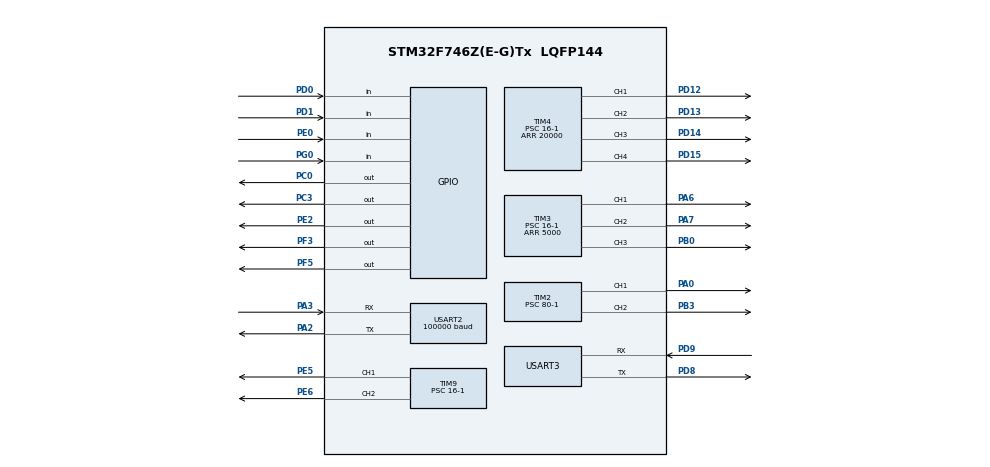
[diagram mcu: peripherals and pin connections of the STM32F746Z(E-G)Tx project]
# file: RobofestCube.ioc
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Mcu.Family=STM32F7
Mcu.Name=STM32F746Z(E-G)Tx
Mcu.Package=LQFP144
NVIC.PriorityGroup=NVIC_PRIORITYGROUP_4
NVIC.TIM6_DAC_IRQn=true\:1\:0\:true\:false\:true\:true
NVIC.USART2_IRQn=true\:2\:0\:true\:false\:true\:true
NVIC.USART3_IRQn=true\:4\:0\:true\:false\:true\:true
PA0/WKUP.Signal=S_TIM2_CH1_ETR
PA2.Mode=Asynchronous
PA2.Signal=USART2_TX
PA3.Mode=Asynchronous
PA3.Signal=USART2_RX
PA6.Signal=S_TIM3_CH1
PA7.Signal=S_TIM3_CH2
PB0.Signal=S_TIM3_CH3
PB3.Signal=S_TIM2_CH2
PC0.Signal=GPIO_Output
PC3.Signal=GPIO_Output
PD0.Signal=GPIO_Input
PD1.Signal=GPIO_Input
PD12.Signal=S_TIM4_CH1
PD13.Signal=S_TIM4_CH2
PD14.Signal=S_TIM4_CH3
PD15.Signal=S_TIM4_CH4
PD8.Mode=Asynchronous
PD8.Signal=USART3_TX
PD9.Mode=Asynchronous
PD9.Signal=USART3_RX
PE0.Signal=GPIO_Input
PE2.Signal=GPIO_Output
PE5.Signal=S_TIM9_CH1
PE6.Signal=S_TIM9_CH2
PF3.Signal=GPIO_Output
PF5.Signal=GPIO_Output
PG0.Signal=GPIO_Input
ProjectManager.HeapSize=0x200
ProjectManager.StackSize=0x400
ProjectManager.TargetToolchain=EWARM
RCC.HSE_VALUE=25000000
RCC.HSI_VALUE=16000000
RCC.LSE_VALUE=32768
RCC.USBFreq_Value=96000000
RCC.VCOOutputFreq_Value=192000000
SH.S_TIM2_CH1_ETR.0=TIM2_CH1,PWM Generation1 CH1
SH.S_TIM2_CH2.0=TIM2_CH2,PWM Generation2 CH2
SH.S_TIM3_CH1.0=TIM3_CH1,PWM Generation1 CH1
SH.S_TIM3_CH2.0=TIM3_CH2,PWM Generation2 CH2
SH.S_TIM3_CH3.0=TIM3_CH3,PWM Generation3 CH3
SH.S_TIM4_CH1.0=TIM4_CH1,PWM Generation1 CH1
SH.S_TIM4_CH2.0=TIM4_CH2,PWM Generation2 CH2
SH.S_TIM4_CH3.0=TIM4_CH3,PWM Generation3 CH3
SH.S_TIM4_CH4.0=TIM4_CH4,PWM Generation4 CH4
SH.S_TIM9_CH1.0=TIM9_CH1,PWM Generation1 CH1
SH.S_TIM9_CH2.0=TIM9_CH2,PWM Generation2 CH2
TIM2.Channel-PWM\ Generation1\ CH1=TIM_CHANNEL_1
TIM2.Channel-PWM\ Generation2\ CH2=TIM_CHANNEL_2
TIM2.Period=2048
TIM2.Prescaler=80-1
TIM3.Channel-PWM\ Generation1\ CH1=TIM_CHANNEL_1
TIM3.Channel-PWM\ Generation2\ CH2=TIM_CHANNEL_2
TIM3.Channel-PWM\ Generation3\ CH3=TIM_CHANNEL_3
TIM3.Period=5000
TIM3.Prescaler=16-1
TIM4.Channel-PWM\ Generation1\ CH1=TIM_CHANNEL_1
TIM4.Channel-PWM\ Generation2\ CH2=TIM_CHANNEL_2
TIM4.Channel-PWM\ Generation3\ CH3=TIM_CHANNEL_3
TIM4.Channel-PWM\ Generation4\ CH4=TIM_CHANNEL_4
TIM4.Period=20000
TIM4.Prescaler=16-1
TIM6.Period=12
TIM6.Prescaler=16000-1
TIM9.Channel-PWM\ Generation1\ CH1=TIM_CHANNEL_1
TIM9.Channel-PWM\ Generation2\ CH2=TIM_CHANNEL_2
TIM9.Period=20000
TIM9.Prescaler=16-1
USART2.BaudRate=100000
USART2.DataInvertParam=UART_ADVFEATURE_DATAINV_DISABLE
USART2.MSBFirstParam=UART_ADVFEATURE_MSBFIRST_DISABLE
USART2.Parity=PARITY_EVEN
USART2.RxPinLevelInvertParam=UART_ADVFEATURE_RXINV_ENABLE
USART2.StopBits=STOPBITS_2
USART2.VirtualMode-Asynchronous=VM_ASYNC
USART2.WordLength=WORDLENGTH_9B
USART3.VirtualMode-Asynchronous=VM_ASYNC
USART3.WordLength=WORDLENGTH_8B
VP_TIM2_VS_ClockSourceINT.Mode=Internal
VP_TIM6_VS_ClockSourceINT.Mode=Enable_Timer
board=RobofestCube

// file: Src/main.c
/**
  ******************************************************************************
  * File Name          : main.c
  * Description        : Main program body
  ******************************************************************************
  ** This notice applies to any and all portions of this file
  * that are not between comment pairs USER CODE BEGIN and
  * USER CODE END. Other portions of this file, whether
  * inserted by the user or by software development tools
  * are owned by their respective copyright owners.
  *
  * COPYRIGHT(c) 2018 STMicroelectronics
  *
  * Redistribution and use in source and binary forms, with or without modification,
  * are permitted provided that the following conditions are met:
  *   1. Redistributions of source code must retain the above copyright notice,
  *      this list of conditions and the following disclaimer.
  *   2. Redistributions in binary form must reproduce the above copyright notice,
  *      this list of conditions and the following disclaimer in the documentation
  *      and/or other materials provided with the distribution.
  *   3. Neither the name of STMicroelectronics nor the names of its contributors
  *      may be used to endorse or promote products derived from this software
  *      without specific prior written permission.
  *
  * THIS SOFTWARE IS PROVIDED BY THE COPYRIGHT HOLDERS AND CONTRIBUTORS "AS IS"
  * AND ANY EXPRESS OR IMPLIED WARRANTIES, INCLUDING, BUT NOT LIMITED TO, THE
  * IMPLIED WARRANTIES OF MERCHANTABILITY AND FITNESS FOR A PARTICULAR PURPOSE ARE
  * DISCLAIMED. IN NO EVENT SHALL THE COPYRIGHT HOLDER OR CONTRIBUTORS BE LIABLE
  * FOR ANY DIRECT, INDIRECT, INCIDENTAL, SPECIAL, EXEMPLARY, OR CONSEQUENTIAL
  * DAMAGES (INCLUDING, BUT NOT LIMITED TO, PROCUREMENT OF SUBSTITUTE GOODS OR
  * SERVICES; LOSS OF USE, DATA, OR PROFITS; OR BUSINESS INTERRUPTION) HOWEVER
  * CAUSED AND ON ANY THEORY OF LIABILITY, WHETHER IN CONTRACT, STRICT LIABILITY,
  * OR TORT (INCLUDING NEGLIGENCE OR OTHERWISE) ARISING IN ANY WAY OUT OF THE USE
  * OF THIS SOFTWARE, EVEN IF ADVISED OF THE POSSIBILITY OF SUCH DAMAGE.
  *
  ******************************************************************************
  */
#include "main.h"
#include "stm32f7xx_hal.h"

TIM_HandleTypeDef htim2;
TIM_HandleTypeDef htim3;
TIM_HandleTypeDef htim4;
TIM_HandleTypeDef htim6;
TIM_HandleTypeDef htim9;

UART_HandleTypeDef huart2;
UART_HandleTypeDef huart3;

/* USER CODE BEGIN PV */
/* Private variables ---------------------------------------------------------*/

/* USER CODE END PV */

void SystemClock_Config(void);
static void MX_GPIO_Init(void);
static void MX_USART2_UART_Init(void);
static void MX_USART3_UART_Init(void);
static void MX_TIM2_Init(void);
static void MX_TIM4_Init(void);
static void MX_TIM9_Init(void);
static void MX_TIM6_Init(void);
static void MX_TIM3_Init(void);

void HAL_TIM_MspPostInit(TIM_HandleTypeDef *htim);

/* USER CODE BEGIN PFP */
/* Private function prototypes -----------------------------------------------*/
static unsigned int Parser (unsigned char a, unsigned char mask, int shift); // It's function for a short record of complex shifts
static int16_t Min_Max(int16_t variable, int16_t min, int16_t max); // Break off the ends
static void Engine_PWM_Set (int16_t Left_Power, int16_t Right_Power); // Set PWM setting on engines
static void Calibration_Channels(uint16_t * CH, double min_val, double max_val); // Aligns the sights on channels
static int16_t Switch_Range (int16_t prev_min_val, int16_t prev_max_val, int16_t min_val, int16_t max_val, int16_t value);
/* USER CODE END PFP */

/* USER CODE BEGIN 0 */
unsigned int i; // Counter
int16_t iteration = 0; // Iterator for servo and camera capasity

// Data receive variables
unsigned char Radio_Data[250]; // Buffer for Radio module data
uint16_t CH[16]; // Processed channels
unsigned char Start_byte; // Byte only for start receiving
unsigned char Radio_flag = 0; // Access Radio flag
unsigned char DCH1; // DCH1 from sbus
unsigned char DCH2; // DCH2from sbus
unsigned char Frame_lost; // Frame lost from sbus
unsigned char failsafe; // failsafe from sbus

// Motion variables
int16_t Left_Power = 0;  // Power of the right side of the wheels
int16_t Right_Power = 0; // Power of the left side of the wheels
unsigned char tank_switch; // Flag set switching motion mod is ready

// Servo variables
int16_t PWM_slope = 544;
int16_t PWM_rotate = 544;
int16_t PWM_manipulator_rotate = 900;

// Camera variables
int16_t PWM_LeftRight = 544;
int16_t PWM_UpDown = 544;

// Button variables
uint16_t prev_ch10, prev_ch11;
/* USER CODE END 0 */

int main(void)
{

  /* MCU Configuration----------------------------------------------------------*/

  /* Reset of all peripherals, Initializes the Flash interface and the Systick. */
  HAL_Init();

  /* Configure the system clock */
  SystemClock_Config();

  /* Initialize all configured peripherals */
  MX_GPIO_Init();
  MX_USART2_UART_Init();
  MX_USART3_UART_Init();
  MX_TIM2_Init();
  MX_TIM4_Init();
  MX_TIM9_Init();
  MX_TIM6_Init();
  MX_TIM3_Init();

  /* USER CODE BEGIN 2 */
  HAL_TIM_Base_Start_IT(&htim2);
  __HAL_UART_ENABLE_IT(&huart2, UART_IT_RXNE);
  HAL_TIM_PWM_Start(&htim2, TIM_CHANNEL_1);
  HAL_TIM_PWM_Start(&htim2, TIM_CHANNEL_2);

  // PWM Activation
  HAL_TIM_Base_Start_IT(&htim3);
  HAL_TIM_PWM_Start(&htim3, TIM_CHANNEL_1);
  HAL_TIM_PWM_Start(&htim3, TIM_CHANNEL_2);
  HAL_TIM_PWM_Start(&htim3, TIM_CHANNEL_3);

  HAL_TIM_Base_Start_IT(&htim4);
  HAL_TIM_PWM_Start(&htim4, TIM_CHANNEL_1);
  HAL_TIM_PWM_Start(&htim4, TIM_CHANNEL_2);
  HAL_TIM_PWM_Start(&htim4, TIM_CHANNEL_3);

  HAL_TIM_Base_Start_IT(&htim9);
  HAL_TIM_PWM_Start(&htim9, TIM_CHANNEL_1);
  HAL_TIM_PWM_Start(&htim9, TIM_CHANNEL_2);
  /* USER CODE END 2 */

  /* Infinite loop */
  while (1)
  {

  /* USER CODE BEGIN 3 */
  	//HAL_UART_Transmit(&huart2, (unsigned char *) "After While\r", 12, 0xff);

//  	HAL_UART_Transmit(&huart3, (unsigned char *) "While\r", 6, 0xff);
    if (Radio_flag == 1)
    {

      CH[0] = Radio_Data[1] + Parser(Radio_Data[2], 0b00000111, 8); // Right Left-Right
      CH[1] = Parser(Radio_Data[2], 0b11111000, -3) + Parser(Radio_Data[3], 0b00111111, 5); // Right Up-Down
      CH[2] = Parser(Radio_Data[3], 0b11000000, -6) + Parser(Radio_Data[4], 0b11111111, 2) + Parser(Radio_Data[5], 0b00000001, 10); // Left Up-Down
      CH[3] = Parser(Radio_Data[5], 0b11111110, -1) + Parser(Radio_Data[6], 0b00001111, 7); // Left Left-Right
      CH[4] = Parser(Radio_Data[6], 0b11110000, -4) + Parser(Radio_Data[7], 0b01111111, 4); // Far Left Swith
      CH[5] = Parser(Radio_Data[7], 0b10000000, -7) + Parser(Radio_Data[8], 0b11111111, 1) + Parser(Radio_Data[9], 0b00000011, 9); // Close Left-Left switch
      CH[6] = Parser(Radio_Data[9], 0b11111100, -2) + Parser(Radio_Data[10], 0b00011111, 6); // Close Left-Right switch
      CH[7] = Parser(Radio_Data[10], 0b11100000, -5) + Parser(Radio_Data[11], 0b11111111, 3); // Close Right-Left switch
      CH[8] = Radio_Data[12] + Parser(Radio_Data[13], 0b00000111, 8); // Close Right-Right switch
      CH[9] = Parser(Radio_Data[13], 0b11111000, -3) + Parser(Radio_Data[14], 0b00111111, 5); // Far Right Swith
      CH[10] = Parser(Radio_Data[14], 0b11000000, -6) + Parser(Radio_Data[15], 0b11111111, 2) + Parser(Radio_Data[16], 0b00000001, 10); // Left wheel
      CH[11] = Parser(Radio_Data[16], 0b11111110, -1) + Parser(Radio_Data[17], 0b00001111, 7); // Right wheel
      CH[12] = Parser(Radio_Data[17], 0b11110000, -4) + Parser(Radio_Data[18], 0b01111111, 4);
      CH[13] = Parser(Radio_Data[18], 0b10000000, -7) + Parser(Radio_Data[19], 0b11111111, 1) + Parser(Radio_Data[20], 0b00000011, 9);
      CH[14] = Parser(Radio_Data[20], 0b11111100, -2) + Parser(Radio_Data[21], 0b00011111, 6);
      CH[15] = Parser(Radio_Data[21], 0b11100000, -5) + Parser(Radio_Data[22], 0b11111111, 3);
      // Channels accepted

      DCH1 = Parser(Radio_Data[23], 0b00000001, 0);
      DCH2 = Parser(Radio_Data[23], 0b00000010, -1);
      Frame_lost = Parser(Radio_Data[23], 0b00000100, -2);
      failsafe = Parser(Radio_Data[23], 0b00001000, -3);
      // Specail signals accepted

      // Calibration
      for (i = 0; i < 16; i++)
      	Calibration_Channels(&CH[i], 172, 1811);

      switch (CH[5])
      {
      	case 0: // Wheels mod
      	{
      		// Stop manipulator
      		__HAL_TIM_SET_COMPARE(&htim4, TIM_CHANNEL_1, 0);
      		__HAL_TIM_SET_COMPARE(&htim4, TIM_CHANNEL_2, 0);
      		__HAL_TIM_SET_COMPARE(&htim4, TIM_CHANNEL_3, 0);

      		// Stop Camera
      		__HAL_TIM_SET_COMPARE(&htim9, TIM_CHANNEL_1, 0);
      		__HAL_TIM_SET_COMPARE(&htim9, TIM_CHANNEL_2, 0);

      		// Set tank_switch
      		if (CH[2] == 1026)
      			tank_switch = 1;

      		// Here move settings
      		if ((CH[4] > 1024) && tank_switch)
      		{
      			Left_Power = (int16_t) ((CH[2] - 1024)*2);
      			Right_Power = (int16_t) ((CH[1] - 1024)*2);
      		}
      		else
      		{
      			tank_switch = 0;
      			Left_Power = (int16_t)((CH[1] + CH[0] - 2048)*(CH[2]/1024.0));
      			Right_Power = (int16_t)((CH[1] - CH[0])*(CH[2]/1024.0));
      		}

      		// Normalization
      		Left_Power = Min_Max(Left_Power, -2048, 2048);
      		Right_Power = Min_Max(Right_Power, -2048, 2048);

      		if (Frame_lost) // If the packege has been lost, we all turn off
      		{
      		  __HAL_TIM_SET_COMPARE(&htim2, TIM_CHANNEL_1, 0);
      		  __HAL_TIM_SET_COMPARE(&htim2, TIM_CHANNEL_2, 0);
      		}
      		else // Else set PWM setting on engines
      			Engine_PWM_Set(Left_Power, Right_Power);

      		break;
      	}

      	case 1024: // Camera mod
      	{
      		// Stop motion
      		__HAL_TIM_SET_COMPARE(&htim2, TIM_CHANNEL_1, 0);
      		__HAL_TIM_SET_COMPARE(&htim2, TIM_CHANNEL_2, 0);

      		// Stop manipulator
      		__HAL_TIM_SET_COMPARE(&htim4, TIM_CHANNEL_1, 0);
      		__HAL_TIM_SET_COMPARE(&htim4, TIM_CHANNEL_2, 0);
      		__HAL_TIM_SET_COMPARE(&htim4, TIM_CHANNEL_3, 0);

      		if (Frame_lost)
      		{
      			// Stop Camera
      			__HAL_TIM_SET_COMPARE(&htim9, TIM_CHANNEL_1, 0);
      			__HAL_TIM_SET_COMPARE(&htim9, TIM_CHANNEL_2, 0);
      		}
      		else
      		{
      			// Left-Right
      			iteration = Switch_Range(0, 2048, -180, 180, CH[0]);
      			PWM_LeftRight += iteration;
      			PWM_LeftRight = Min_Max(PWM_LeftRight, 600, 2300);  // PWM_slope = Min_Max(PWM_slope, 544, 2400);
				__HAL_TIM_SET_COMPARE(&htim9, TIM_CHANNEL_1, PWM_LeftRight);

				// Up-Down
				iteration = Switch_Range(0, 2048, -180, 180, CH[1]);
				PWM_UpDown += iteration;
				PWM_UpDown = Min_Max(PWM_UpDown, 600, 2300);
				__HAL_TIM_SET_COMPARE(&htim9, TIM_CHANNEL_2, PWM_UpDown);
      		}

			break;
      	}

      	case 2048: // Manipulator mod
      	{
      		// Stop motion
      		__HAL_TIM_SET_COMPARE(&htim2, TIM_CHANNEL_1, 0);
      		__HAL_TIM_SET_COMPARE(&htim2, TIM_CHANNEL_2, 0);

      		// Stop Camera
      		__HAL_TIM_SET_COMPARE(&htim9, TIM_CHANNEL_1, 0);
      		__HAL_TIM_SET_COMPARE(&htim9, TIM_CHANNEL_2, 0);

      		if (Frame_lost) // If the packege has been lost, we all turn off
      		{
      			__HAL_TIM_SET_COMPARE(&htim4, TIM_CHANNEL_1, 0);
      			__HAL_TIM_SET_COMPARE(&htim4, TIM_CHANNEL_2, 0);
      			__HAL_TIM_SET_COMPARE(&htim4, TIM_CHANNEL_3, 0);
      		}
      		else
      		{
      			// Capture the goal
      			__HAL_TIM_SET_COMPARE(&htim4, TIM_CHANNEL_1, Switch_Range(0, 2048, 600, 2300, CH[2]));

      			// Pitch
      			iteration = Switch_Range(0, 2048, -180, 180, CH[1]);
      			PWM_slope += iteration;
      			PWM_slope = Min_Max(PWM_slope, 600, 2300);  // PWM_slope = Min_Max(PWM_slope, 544, 2400);
				__HAL_TIM_SET_COMPARE(&htim4, TIM_CHANNEL_2, PWM_slope);

				// Rotate the claw
				iteration = Switch_Range(0, 2048, -180, 180, CH[3]);
				PWM_rotate += iteration;
				PWM_rotate = Min_Max(PWM_rotate, 600, 2300);
				__HAL_TIM_SET_COMPARE(&htim4, TIM_CHANNEL_3, PWM_rotate);

				// Direct_1
				__HAL_TIM_SET_COMPARE(&htim3, TIM_CHANNEL_1, Switch_Range(0, 2048, 900, 2100, CH[10]));

				// Direct_1
				__HAL_TIM_SET_COMPARE(&htim3, TIM_CHANNEL_2, Switch_Range(0, 2048, 900, 2100, CH[11]));

				// Rotate the manipulator
				iteration = Switch_Range(0, 2048, -180, 180, CH[0]);
      			PWM_manipulator_rotate += iteration;
      			PWM_manipulator_rotate = Min_Max(PWM_manipulator_rotate, 900, 2100);  // PWM_slope = Min_Max(PWM_slope, 544, 2400);
				__HAL_TIM_SET_COMPARE(&htim3, TIM_CHANNEL_3, PWM_manipulator_rotate);

				break;
      		}
      	}
      }

      if (CH[9] == 2048) // Automatical capture mode
      {

      	// Stop motion
      	__HAL_TIM_SET_COMPARE(&htim2, TIM_CHANNEL_1, 0);
      	__HAL_TIM_SET_COMPARE(&htim2, TIM_CHANNEL_2, 0);

      	// Stop Camera
      	__HAL_TIM_SET_COMPARE(&htim9, TIM_CHANNEL_1, 0);
      	__HAL_TIM_SET_COMPARE(&htim9, TIM_CHANNEL_2, 0);

      	// Remember previous value
      	prev_ch10 = CH[10];
      	prev_ch11 = CH[11];

      	// Capasity of rotation
      	iteration = 1;

      	while(HAL_GPIO_ReadPin(GPIOE, GPIO_PIN_0)) // While button is not pressed
      	{
      		// NON BLOCK!!!
      		Radio_flag = 0;

      		// Iteration degree
      		CH[10] += iteration;
      		CH[11] += iteration;

      		for (i = 0; i < 1000; i++);
 //     		HAL_Delay(1000);

      		// Checking the automatic mode
      		CH[8] = Radio_Data[12] + Parser(Radio_Data[13], 0b00000111, 8); // Close Right-Right switch
      		Calibration_Channels(&CH[8], 172, 1811);

      		if ((CH[10] > 2048) || (CH[11] > 2048) || (CH[8] != 1024)) // There was an overflow but the button was not pressed
      		{
      			// Return previous values
      			CH[10] = prev_ch10;
      			CH[11] = prev_ch11;

      			// Return manipulator in previous position
      			__HAL_TIM_SET_COMPARE(&htim3, TIM_CHANNEL_1, Switch_Range(0, 2048, 900, 2100, CH[10]));
      			__HAL_TIM_SET_COMPARE(&htim3, TIM_CHANNEL_2, Switch_Range(0, 2048, 900, 2100, CH[11]));
      			break;
      		}

      		// Set PWM settings
      		__HAL_TIM_SET_COMPARE(&htim3, TIM_CHANNEL_1, Switch_Range(0, 2048, 900, 2100, CH[10]));
      		__HAL_TIM_SET_COMPARE(&htim3, TIM_CHANNEL_2, Switch_Range(0, 2048, 900, 2100, CH[11]));
      	}
      	if ((CH[10] <= 2048) && (CH[11] <= 2048) && (CH[8] == 1024)) // There is no an overflow,
      	{
      		// capture the target
      		__HAL_TIM_SET_COMPARE(&htim4, TIM_CHANNEL_1, 2300);

      		// Wake up manipulator
      		__HAL_TIM_SET_COMPARE(&htim3, TIM_CHANNEL_1, 1300);
      	}
      }

      switch (CH[7]) // Switch camera mod
      {
      	case 0: // Cammon camera
      	{
      		HAL_GPIO_WritePin(GPIOE, GPIO_PIN_2, GPIO_PIN_RESET);
      		break;
      	}

      	case 2048: // Special camera
      	{
      		HAL_GPIO_WritePin(GPIOE, GPIO_PIN_2, GPIO_PIN_SET);
      		break;
      	}
      }

      switch(CH[6]) // Features
      {
      	case 1024: // Roll up the manipulator
      	{
      		__HAL_TIM_SET_COMPARE(&htim4, TIM_CHANNEL_1, 1500);
      		__HAL_TIM_SET_COMPARE(&htim4, TIM_CHANNEL_2, 1500);
      		__HAL_TIM_SET_COMPARE(&htim4, TIM_CHANNEL_3, 1500);
      		__HAL_TIM_SET_COMPARE(&htim3, TIM_CHANNEL_1, 1500);
      		__HAL_TIM_SET_COMPARE(&htim3, TIM_CHANNEL_2, 1500);
      		__HAL_TIM_SET_COMPARE(&htim3, TIM_CHANNEL_3, 1500);

      		break;
      	}

      	case 2048: // Automatic climbing!
      	{
      		// Full power!
      		Engine_PWM_Set(2048, 2048);

      		// While there is no inclination we go
      		while ((HAL_GPIO_ReadPin(GPIOG, GPIO_PIN_0 == 0)) && (HAL_GPIO_ReadPin(GPIOD, GPIO_PIN_0 == 0)) && (HAL_GPIO_ReadPin(GPIOD, GPIO_PIN_1 == 0)))
      		{
      			// NON BLOCK!!!
      			Radio_flag = 0;

      			// Checking the automatic mode
      			CH[8] = Radio_Data[12] + Parser(Radio_Data[13], 0b00000111, 8); // Close Right-Right switch
      			Calibration_Channels(&CH[8], 172, 1811);

      			if (CH[8] != 1024)
      				break;
      		}

      		// We continue to go until each one is equalized
      		while (HAL_GPIO_ReadPin(GPIOG, GPIO_PIN_0) || HAL_GPIO_ReadPin(GPIOD, GPIO_PIN_0) || HAL_GPIO_ReadPin(GPIOD, GPIO_PIN_1))
      		{
      			// NON BLOCK!!!
      			Radio_flag = 0;

      			// Checking the automatic mode
      			CH[8] = Radio_Data[12] + Parser(Radio_Data[13], 0b00000111, 8); // Close Right-Right switch
      			Calibration_Channels(&CH[8], 172, 1811);

      			if (CH[8] != 1024)
      				break;
      		}

      		// We drove to the top. Stop!
      		Engine_PWM_Set(0, 0);

      		break;
      	}
      }

      Radio_flag = 0; //Receiving access
    }

  	//HAL_Delay(500);
  }
  /* USER CODE END 3 */

}

/** System Clock Configuration
*/
void SystemClock_Config(void)
{

  RCC_OscInitTypeDef RCC_OscInitStruct;
  RCC_ClkInitTypeDef RCC_ClkInitStruct;
  RCC_PeriphCLKInitTypeDef PeriphClkInitStruct;

    /**Configure the main internal regulator output voltage
    */
  __HAL_RCC_PWR_CLK_ENABLE();

  __HAL_PWR_VOLTAGESCALING_CONFIG(PWR_REGULATOR_VOLTAGE_SCALE3);

    /**Initializes the CPU, AHB and APB busses clocks
    */
  RCC_OscInitStruct.OscillatorType = RCC_OSCILLATORTYPE_HSI;
  RCC_OscInitStruct.HSIState = RCC_HSI_ON;
  RCC_OscInitStruct.HSICalibrationValue = 16;
  RCC_OscInitStruct.PLL.PLLState = RCC_PLL_NONE;
  if (HAL_RCC_OscConfig(&RCC_OscInitStruct) != HAL_OK)
  {
    _Error_Handler(__FILE__, __LINE__);
  }

    /**Initializes the CPU, AHB and APB busses clocks
    */
  RCC_ClkInitStruct.ClockType = RCC_CLOCKTYPE_HCLK|RCC_CLOCKTYPE_SYSCLK
                              |RCC_CLOCKTYPE_PCLK1|RCC_CLOCKTYPE_PCLK2;
  RCC_ClkInitStruct.SYSCLKSource = RCC_SYSCLKSOURCE_HSI;
  RCC_ClkInitStruct.AHBCLKDivider = RCC_SYSCLK_DIV1;
  RCC_ClkInitStruct.APB1CLKDivider = RCC_HCLK_DIV1;
  RCC_ClkInitStruct.APB2CLKDivider = RCC_HCLK_DIV1;

  if (HAL_RCC_ClockConfig(&RCC_ClkInitStruct, FLASH_LATENCY_0) != HAL_OK)
  {
    _Error_Handler(__FILE__, __LINE__);
  }

  PeriphClkInitStruct.PeriphClockSelection = RCC_PERIPHCLK_USART2|RCC_PERIPHCLK_USART3;
  PeriphClkInitStruct.Usart2ClockSelection = RCC_USART2CLKSOURCE_PCLK1;
  PeriphClkInitStruct.Usart3ClockSelection = RCC_USART3CLKSOURCE_PCLK1;
  if (HAL_RCCEx_PeriphCLKConfig(&PeriphClkInitStruct) != HAL_OK)
  {
    _Error_Handler(__FILE__, __LINE__);
  }

    /**Configure the Systick interrupt time
    */
  HAL_SYSTICK_Config(HAL_RCC_GetHCLKFreq()/1000);

    /**Configure the Systick
    */
  HAL_SYSTICK_CLKSourceConfig(SYSTICK_CLKSOURCE_HCLK);

  /* SysTick_IRQn interrupt configuration */
  HAL_NVIC_SetPriority(SysTick_IRQn, 0, 0);
}

/* TIM2 init function */
static void MX_TIM2_Init(void)
{

  TIM_ClockConfigTypeDef sClockSourceConfig;
  TIM_MasterConfigTypeDef sMasterConfig;
  TIM_OC_InitTypeDef sConfigOC;

  htim2.Instance = TIM2;
  htim2.Init.Prescaler = 80-1;
  htim2.Init.CounterMode = TIM_COUNTERMODE_UP;
  htim2.Init.Period = 2048;
  htim2.Init.ClockDivision = TIM_CLOCKDIVISION_DIV1;
  htim2.Init.AutoReloadPreload = TIM_AUTORELOAD_PRELOAD_DISABLE;
  if (HAL_TIM_Base_Init(&htim2) != HAL_OK)
  {
    _Error_Handler(__FILE__, __LINE__);
  }

  sClockSourceConfig.ClockSource = TIM_CLOCKSOURCE_INTERNAL;
  if (HAL_TIM_ConfigClockSource(&htim2, &sClockSourceConfig) != HAL_OK)
  {
    _Error_Handler(__FILE__, __LINE__);
  }

  if (HAL_TIM_PWM_Init(&htim2) != HAL_OK)
  {
    _Error_Handler(__FILE__, __LINE__);
  }

  sMasterConfig.MasterOutputTrigger = TIM_TRGO_RESET;
  sMasterConfig.MasterSlaveMode = TIM_MASTERSLAVEMODE_DISABLE;
  if (HAL_TIMEx_MasterConfigSynchronization(&htim2, &sMasterConfig) != HAL_OK)
  {
    _Error_Handler(__FILE__, __LINE__);
  }

  sConfigOC.OCMode = TIM_OCMODE_PWM1;
  sConfigOC.Pulse = 0;
  sConfigOC.OCPolarity = TIM_OCPOLARITY_HIGH;
  sConfigOC.OCFastMode = TIM_OCFAST_DISABLE;
  if (HAL_TIM_PWM_ConfigChannel(&htim2, &sConfigOC, TIM_CHANNEL_1) != HAL_OK)
  {
    _Error_Handler(__FILE__, __LINE__);
  }

  if (HAL_TIM_PWM_ConfigChannel(&htim2, &sConfigOC, TIM_CHANNEL_2) != HAL_OK)
  {
    _Error_Handler(__FILE__, __LINE__);
  }

  HAL_TIM_MspPostInit(&htim2);

}

/* TIM3 init function */
static void MX_TIM3_Init(void)
{

  TIM_MasterConfigTypeDef sMasterConfig;
  TIM_OC_InitTypeDef sConfigOC;

  htim3.Instance = TIM3;
  htim3.Init.Prescaler = 16-1;
  htim3.Init.CounterMode = TIM_COUNTERMODE_UP;
  htim3.Init.Period = 5000;
  htim3.Init.ClockDivision = TIM_CLOCKDIVISION_DIV1;
  htim3.Init.AutoReloadPreload = TIM_AUTORELOAD_PRELOAD_DISABLE;
  if (HAL_TIM_PWM_Init(&htim3) != HAL_OK)
  {
    _Error_Handler(__FILE__, __LINE__);
  }

  sMasterConfig.MasterOutputTrigger = TIM_TRGO_RESET;
  sMasterConfig.MasterSlaveMode = TIM_MASTERSLAVEMODE_DISABLE;
  if (HAL_TIMEx_MasterConfigSynchronization(&htim3, &sMasterConfig) != HAL_OK)
  {
    _Error_Handler(__FILE__, __LINE__);
  }

  sConfigOC.OCMode = TIM_OCMODE_PWM1;
  sConfigOC.Pulse = 0;
  sConfigOC.OCPolarity = TIM_OCPOLARITY_HIGH;
  sConfigOC.OCFastMode = TIM_OCFAST_DISABLE;
  if (HAL_TIM_PWM_ConfigChannel(&htim3, &sConfigOC, TIM_CHANNEL_1) != HAL_OK)
  {
    _Error_Handler(__FILE__, __LINE__);
  }

  if (HAL_TIM_PWM_ConfigChannel(&htim3, &sConfigOC, TIM_CHANNEL_2) != HAL_OK)
  {
    _Error_Handler(__FILE__, __LINE__);
  }

  if (HAL_TIM_PWM_ConfigChannel(&htim3, &sConfigOC, TIM_CHANNEL_3) != HAL_OK)
  {
    _Error_Handler(__FILE__, __LINE__);
  }

  HAL_TIM_MspPostInit(&htim3);

}

/* TIM4 init function */
static void MX_TIM4_Init(void)
{

  TIM_MasterConfigTypeDef sMasterConfig;
  TIM_OC_InitTypeDef sConfigOC;

  htim4.Instance = TIM4;
  htim4.Init.Prescaler = 16-1;
  htim4.Init.CounterMode = TIM_COUNTERMODE_UP;
  htim4.Init.Period = 20000;
  htim4.Init.ClockDivision = TIM_CLOCKDIVISION_DIV1;
  htim4.Init.AutoReloadPreload = TIM_AUTORELOAD_PRELOAD_DISABLE;
  if (HAL_TIM_PWM_Init(&htim4) != HAL_OK)
  {
    _Error_Handler(__FILE__, __LINE__);
  }

  sMasterConfig.MasterOutputTrigger = TIM_TRGO_RESET;
  sMasterConfig.MasterSlaveMode = TIM_MASTERSLAVEMODE_DISABLE;
  if (HAL_TIMEx_MasterConfigSynchronization(&htim4, &sMasterConfig) != HAL_OK)
  {
    _Error_Handler(__FILE__, __LINE__);
  }

  sConfigOC.OCMode = TIM_OCMODE_PWM1;
  sConfigOC.Pulse = 0;
  sConfigOC.OCPolarity = TIM_OCPOLARITY_HIGH;
  sConfigOC.OCFastMode = TIM_OCFAST_DISABLE;
  if (HAL_TIM_PWM_ConfigChannel(&htim4, &sConfigOC, TIM_CHANNEL_1) != HAL_OK)
  {
    _Error_Handler(__FILE__, __LINE__);
  }

  if (HAL_TIM_PWM_ConfigChannel(&htim4, &sConfigOC, TIM_CHANNEL_2) != HAL_OK)
  {
    _Error_Handler(__FILE__, __LINE__);
  }

  if (HAL_TIM_PWM_ConfigChannel(&htim4, &sConfigOC, TIM_CHANNEL_3) != HAL_OK)
  {
    _Error_Handler(__FILE__, __LINE__);
  }

  if (HAL_TIM_PWM_ConfigChannel(&htim4, &sConfigOC, TIM_CHANNEL_4) != HAL_OK)
  {
    _Error_Handler(__FILE__, __LINE__);
  }

  HAL_TIM_MspPostInit(&htim4);

}

/* TIM6 init function */
static void MX_TIM6_Init(void)
{

  TIM_MasterConfigTypeDef sMasterConfig;

  htim6.Instance = TIM6;
  htim6.Init.Prescaler = 16000-1;
  htim6.Init.CounterMode = TIM_COUNTERMODE_UP;
  htim6.Init.Period = 12;
  htim6.Init.AutoReloadPreload = TIM_AUTORELOAD_PRELOAD_DISABLE;
  if (HAL_TIM_Base_Init(&htim6) != HAL_OK)
  {
    _Error_Handler(__FILE__, __LINE__);
  }

  sMasterConfig.MasterOutputTrigger = TIM_TRGO_RESET;
  sMasterConfig.MasterSlaveMode = TIM_MASTERSLAVEMODE_DISABLE;
  if (HAL_TIMEx_MasterConfigSynchronization(&htim6, &sMasterConfig) != HAL_OK)
  {
    _Error_Handler(__FILE__, __LINE__);
  }

}

/* TIM9 init function */
static void MX_TIM9_Init(void)
{

  TIM_OC_InitTypeDef sConfigOC;

  htim9.Instance = TIM9;
  htim9.Init.Prescaler = 16-1;
  htim9.Init.CounterMode = TIM_COUNTERMODE_UP;
  htim9.Init.Period = 20000;
  htim9.Init.ClockDivision = TIM_CLOCKDIVISION_DIV1;
  htim9.Init.AutoReloadPreload = TIM_AUTORELOAD_PRELOAD_DISABLE;
  if (HAL_TIM_PWM_Init(&htim9) != HAL_OK)
  {
    _Error_Handler(__FILE__, __LINE__);
  }

  sConfigOC.OCMode = TIM_OCMODE_PWM1;
  sConfigOC.Pulse = 0;
  sConfigOC.OCPolarity = TIM_OCPOLARITY_HIGH;
  sConfigOC.OCFastMode = TIM_OCFAST_DISABLE;
  if (HAL_TIM_PWM_ConfigChannel(&htim9, &sConfigOC, TIM_CHANNEL_1) != HAL_OK)
  {
    _Error_Handler(__FILE__, __LINE__);
  }

  if (HAL_TIM_PWM_ConfigChannel(&htim9, &sConfigOC, TIM_CHANNEL_2) != HAL_OK)
  {
    _Error_Handler(__FILE__, __LINE__);
  }

  HAL_TIM_MspPostInit(&htim9);

}

/* USART2 init function */
static void MX_USART2_UART_Init(void)
{

  huart2.Instance = USART2;
  huart2.Init.BaudRate = 100000;
  huart2.Init.WordLength = UART_WORDLENGTH_9B;
  huart2.Init.StopBits = UART_STOPBITS_2;
  huart2.Init.Parity = UART_PARITY_EVEN;
  huart2.Init.Mode = UART_MODE_TX_RX;
  huart2.Init.HwFlowCtl = UART_HWCONTROL_NONE;
  huart2.Init.OverSampling = UART_OVERSAMPLING_16;
  huart2.Init.OneBitSampling = UART_ONE_BIT_SAMPLE_DISABLE;
  huart2.AdvancedInit.AdvFeatureInit = UART_ADVFEATURE_RXINVERT_INIT;
  huart2.AdvancedInit.RxPinLevelInvert = UART_ADVFEATURE_RXINV_ENABLE;
  if (HAL_UART_Init(&huart2) != HAL_OK)
  {
    _Error_Handler(__FILE__, __LINE__);
  }

}

/* USART3 init function */
static void MX_USART3_UART_Init(void)
{

  huart3.Instance = USART3;
  huart3.Init.BaudRate = 115200;
  huart3.Init.WordLength = UART_WORDLENGTH_8B;
  huart3.Init.StopBits = UART_STOPBITS_1;
  huart3.Init.Parity = UART_PARITY_NONE;
  huart3.Init.Mode = UART_MODE_TX_RX;
  huart3.Init.HwFlowCtl = UART_HWCONTROL_NONE;
  huart3.Init.OverSampling = UART_OVERSAMPLING_16;
  huart3.Init.OneBitSampling = UART_ONE_BIT_SAMPLE_DISABLE;
  huart3.AdvancedInit.AdvFeatureInit = UART_ADVFEATURE_NO_INIT;
  if (HAL_UART_Init(&huart3) != HAL_OK)
  {
    _Error_Handler(__FILE__, __LINE__);
  }

}

/** Configure pins as
        * Analog
        * Input
        * Output
        * EVENT_OUT
        * EXTI
*/
static void MX_GPIO_Init(void)
{

  GPIO_InitTypeDef GPIO_InitStruct;

  /* GPIO Ports Clock Enable */
  __HAL_RCC_GPIOE_CLK_ENABLE();
  __HAL_RCC_GPIOF_CLK_ENABLE();
  __HAL_RCC_GPIOC_CLK_ENABLE();
  __HAL_RCC_GPIOA_CLK_ENABLE();
  __HAL_RCC_GPIOB_CLK_ENABLE();
  __HAL_RCC_GPIOG_CLK_ENABLE();
  __HAL_RCC_GPIOD_CLK_ENABLE();

  /*Configure GPIO pin Output Level */
  HAL_GPIO_WritePin(GPIOE, GPIO_PIN_2, GPIO_PIN_RESET);

  /*Configure GPIO pin Output Level */
  HAL_GPIO_WritePin(GPIOF, GPIO_PIN_3|GPIO_PIN_5, GPIO_PIN_RESET);

  /*Configure GPIO pin Output Level */
  HAL_GPIO_WritePin(GPIOC, GPIO_PIN_0|GPIO_PIN_3, GPIO_PIN_RESET);

  /*Configure GPIO pin : PE2 */
  GPIO_InitStruct.Pin = GPIO_PIN_2;
  GPIO_InitStruct.Mode = GPIO_MODE_OUTPUT_PP;
  GPIO_InitStruct.Pull = GPIO_NOPULL;
  GPIO_InitStruct.Speed = GPIO_SPEED_FREQ_LOW;
  HAL_GPIO_Init(GPIOE, &GPIO_InitStruct);

  /*Configure GPIO pins : PF3 PF5 */
  GPIO_InitStruct.Pin = GPIO_PIN_3|GPIO_PIN_5;
  GPIO_InitStruct.Mode = GPIO_MODE_OUTPUT_PP;
  GPIO_InitStruct.Pull = GPIO_NOPULL;
  GPIO_InitStruct.Speed = GPIO_SPEED_FREQ_LOW;
  HAL_GPIO_Init(GPIOF, &GPIO_InitStruct);

  /*Configure GPIO pins : PC0 PC3 */
  GPIO_InitStruct.Pin = GPIO_PIN_0|GPIO_PIN_3;
  GPIO_InitStruct.Mode = GPIO_MODE_OUTPUT_PP;
  GPIO_InitStruct.Pull = GPIO_NOPULL;
  GPIO_InitStruct.Speed = GPIO_SPEED_FREQ_LOW;
  HAL_GPIO_Init(GPIOC, &GPIO_InitStruct);

  /*Configure GPIO pin : PG0 */
  GPIO_InitStruct.Pin = GPIO_PIN_0;
  GPIO_InitStruct.Mode = GPIO_MODE_INPUT;
  GPIO_InitStruct.Pull = GPIO_NOPULL;
  HAL_GPIO_Init(GPIOG, &GPIO_InitStruct);

  /*Configure GPIO pins : PD0 PD1 */
  GPIO_InitStruct.Pin = GPIO_PIN_0|GPIO_PIN_1;
  GPIO_InitStruct.Mode = GPIO_MODE_INPUT;
  GPIO_InitStruct.Pull = GPIO_NOPULL;
  HAL_GPIO_Init(GPIOD, &GPIO_InitStruct);

  /*Configure GPIO pin : PE0 */
  GPIO_InitStruct.Pin = GPIO_PIN_0;
  GPIO_InitStruct.Mode = GPIO_MODE_INPUT;
  GPIO_InitStruct.Pull = GPIO_NOPULL;
  HAL_GPIO_Init(GPIOE, &GPIO_InitStruct);

}

/* USER CODE BEGIN 4 */
unsigned int Parser (unsigned char a, unsigned char mask, int shift)
{
  if (shift > 0)
    return (((unsigned int) (a&mask)) << shift);
  else
  	return (((unsigned int) (a&mask)) >> (-1 * shift));
}

int16_t Min_Max(int16_t variable, int16_t min, int16_t max)
{
	if (variable < min)
		return min;
	if (variable > max)
		return max;
	return variable;
}

void Engine_PWM_Set (int16_t Left_Power, int16_t Right_Power)
{
	/// LEFT
    if (Left_Power > 0) // Then the direct polarity
    {
      HAL_GPIO_WritePin(GPIOC, GPIO_PIN_0, GPIO_PIN_SET);
      HAL_GPIO_WritePin(GPIOC, GPIO_PIN_3, GPIO_PIN_RESET);
      // PWM settings
      __HAL_TIM_SET_COMPARE(&htim2, TIM_CHANNEL_1, Left_Power);
    }
    if (Left_Power < 0) // Then the invert polarity
    {
      HAL_GPIO_WritePin(GPIOC, GPIO_PIN_0, GPIO_PIN_RESET);
      HAL_GPIO_WritePin(GPIOC, GPIO_PIN_3, GPIO_PIN_SET);
      // PWM settings
      __HAL_TIM_SET_COMPARE(&htim2, TIM_CHANNEL_1, -1*Left_Power);
    }
    /// RIGHT
    if (Right_Power > 0) // Then the direct polarity
    {
      HAL_GPIO_WritePin(GPIOF, GPIO_PIN_3, GPIO_PIN_SET);
      HAL_GPIO_WritePin(GPIOF, GPIO_PIN_5, GPIO_PIN_RESET);
      // PWM settings
      __HAL_TIM_SET_COMPARE(&htim2, TIM_CHANNEL_2, Right_Power);
    }
    if (Right_Power < 0) // Then the invert polarity
    {
      HAL_GPIO_WritePin(GPIOF, GPIO_PIN_3, GPIO_PIN_RESET);
      HAL_GPIO_WritePin(GPIOF, GPIO_PIN_5, GPIO_PIN_SET);
      // PWM settings
      __HAL_TIM_SET_COMPARE(&htim2, TIM_CHANNEL_2, -1*Right_Power);
    }
}

void Calibration_Channels(uint16_t * CH, double min_val, double max_val)
{
	*CH = (uint16_t) (2048.0*(*CH - min_val)/((double)(max_val - min_val)));
	*CH = (uint16_t) (Min_Max((int16_t)*CH, 0, 2048));
}

int16_t Switch_Range (int16_t prev_min_val, int16_t prev_max_val, int16_t min_val, int16_t max_val, int16_t value)
{
	return (int16_t) ((value - prev_min_val)*((max_val - min_val)/((double)(prev_max_val - prev_min_val))) + min_val);
}
/* USER CODE END 4 */

void _Error_Handler(char * file, int line)
{
  while(1)
  {
  }
}

/************************ (C) COPYRIGHT STMicroelectronics *****END OF FILE****/
